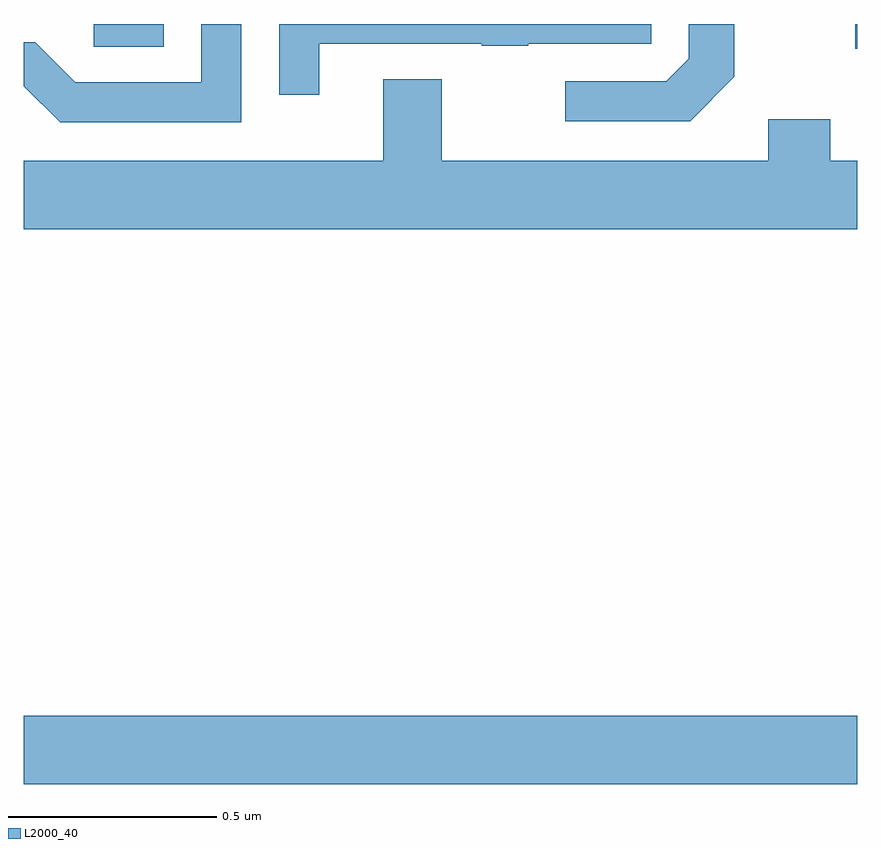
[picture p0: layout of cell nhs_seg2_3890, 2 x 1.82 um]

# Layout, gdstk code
import gdstk
lib = gdstk.Library(unit=1e-6, precision=1e-09)
def R(c, l, rs):  # rectangles x0, y0, x1, y1
    for r in rs: c.add(gdstk.rectangle(r[:2], r[2:], *l))
def P(c, l, *ps):  # polygons
    for p in ps: c.add(gdstk.Polygon(p, *l))
L2000_40 = (2000, 40)

nhs_seg2_3890 = lib.new_cell('nhs_seg2_3890')
R(nhs_seg2_3890, L2000_40, [(159,640.976,161,641.14), (160.995,642.741,161,642.8), (159.168,642.745,159.336,642.8)])
P(nhs_seg2_3890, L2000_40, [(159.522,642.8),(159.426,642.8),(159.426,642.66),(159.123,642.66),(159.027,642.756),(159,642.756),(159,642.651),(159.087,642.564),(159.522,642.564)],
  [(159.709,642.753),(160.099,642.753),(160.099,642.748),(160.211,642.748),(160.211,642.753),(160.506,642.753),(160.506,642.8),(159.613,642.8),(159.613,642.63),(159.709,642.63)],
  [(160.705,642.673),(160.705,642.8),(160.596,642.8),(160.596,642.717),(160.542,642.663),(160.299,642.663),(160.299,642.567),(160.599,642.567)],
  [(161,642.472),(160.935,642.472),(160.935,642.571),(160.787,642.571),(160.787,642.472),(160.003,642.472),(160.003,642.667),(159.863,642.667),(159.863,642.472),(159,642.472),(159,642.308),(161,642.308)])

lib.write_gds('nhs_seg2_3890.gds')
